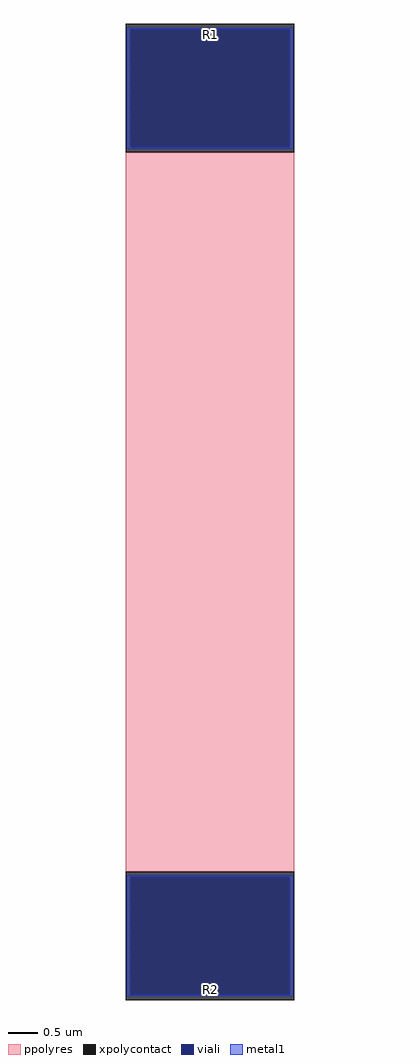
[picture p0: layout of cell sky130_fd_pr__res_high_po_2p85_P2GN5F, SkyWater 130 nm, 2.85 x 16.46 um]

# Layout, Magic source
magic
tech sky130A
magscale 1 2
<< xpolycontact >>
rect -285 1214 285 1646
rect -285 -1646 285 -1214
<< ppolyres >>
rect -285 -1214 285 1214
<< viali >>
rect -269 1231 269 1628
rect -269 -1628 269 -1231
<< metal1 >>
rect -281 1628 281 1634
rect -281 1231 -269 1628
rect 269 1231 281 1628
rect -281 1225 281 1231
rect -281 -1231 281 -1225
rect -281 -1628 -269 -1231
rect 269 -1628 281 -1231
rect -281 -1634 281 -1628
<< labels >>
rlabel xpolycontact 0 1611 0 1611 0 R1
port 1 nsew
rlabel xpolycontact 0 -1611 0 -1611 0 R2
port 2 nsew
<< properties >>
string gencell sky130_fd_pr__res_high_po_2p85
string library sky130
string parameters w 2.85 l 12.3 m 1 nx 1 wmin 2.850 lmin 0.50 class resistor rho 319.8 val 1.516k dummy 0 dw 0.0 term 194.82 sterm 0.0 caplen 0 guard 0 glc 1 grc 1 gtc 1 gbc 1 compatible {sky130_fd_pr__res_high_po_0p35  sky130_fd_pr__res_high_po_0p69 sky130_fd_pr__res_high_po_1p41  sky130_fd_pr__res_high_po_2p85 sky130_fd_pr__res_high_po_5p73} snake 0 full_metal 1 wmax 2.850 n_guard 0 hv_guard 0 vias 1 viagb 0 viagt 0 viagl 0 viagr 0 doports 1
<< end >>
